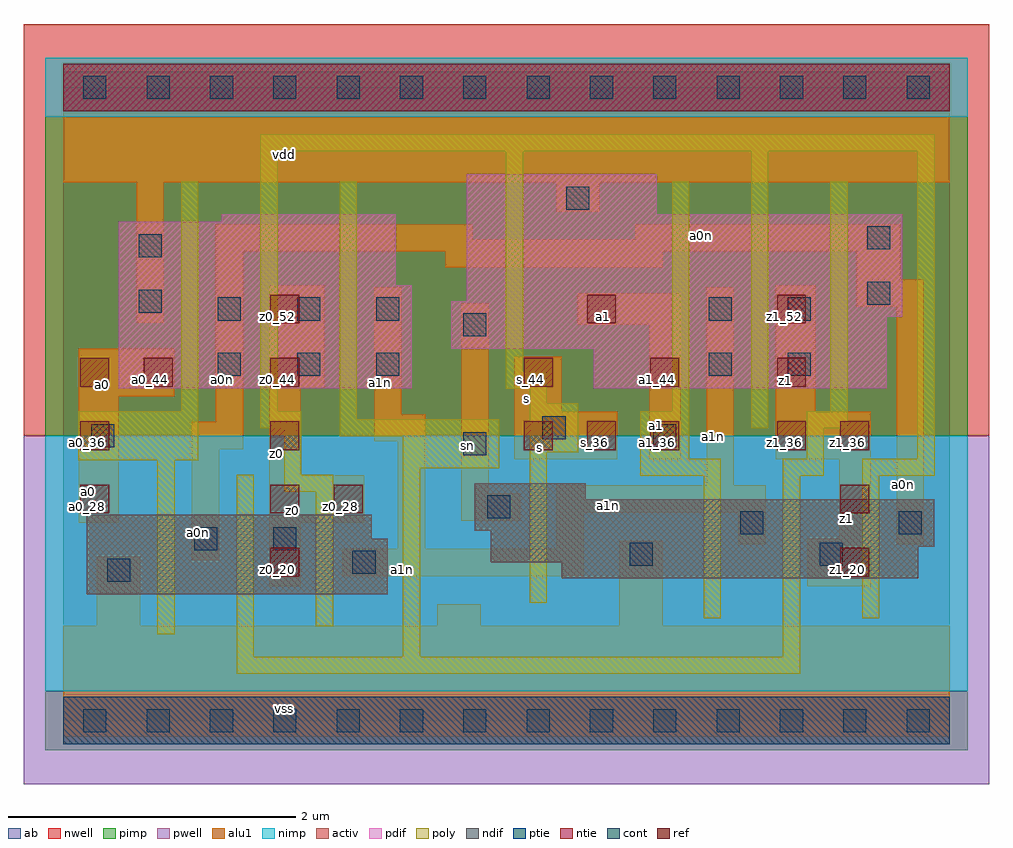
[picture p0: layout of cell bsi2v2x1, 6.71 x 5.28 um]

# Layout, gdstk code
import gdstk
lib = gdstk.Library(unit=1e-6, precision=2.5e-09)
def R(c, l, rs):  # rectangles x0, y0, x1, y1
    for r in rs: c.add(gdstk.rectangle(r[:2], r[2:], *l))
def A(c, l, x, y, w, h, nx, ny, dx, dy):  # array of equal rectangles
    R(c, l, [(x+i*dx, y+j*dy, x+i*dx+w, y+j*dy+h) for i in range(nx) for j in range(ny)])
ndif = (3, 0)
pdif = (4, 0)
ntie = (5, 0)
ptie = (6, 0)
ref = (24, 0)
cont = (25, 0)
pwell = (41, 0)
nwell = (42, 0)
activ = (43, 0)
pimp = (44, 0)
nimp = (45, 0)
poly = (46, 0)
alu1 = (49, 0)
ab = (63, 0)

bsi2v2x1 = lib.new_cell('bsi2v2x1')
R(bsi2v2x1, ndif, [(0.165,0.88,2.255,1.265), (3.465,0.99,5.94,1.1), (2.97,1.1,5.94,1.21), (2.97,1.21,6.05,1.32), (0.165,1.265,2.145,1.43), (2.86,1.32,6.05,1.54), (2.86,1.54,3.63,1.65)])
R(bsi2v2x1, pdif, [(0.385,2.31,2.42,3.025), (3.685,2.31,5.72,2.585), (2.695,2.585,5.72,2.805), (2.695,2.805,5.83,2.915), (2.805,2.915,5.83,3.52), (0.385,3.025,2.31,3.465), (1.1,3.465,2.31,3.52), (2.805,3.52,4.125,3.795)])
R(bsi2v2x1, ntie, [(0,4.235,6.16,4.565)])
R(bsi2v2x1, ptie, [(0,-0.165,6.16,0.165)])
A(bsi2v2x1, ref, 1.44, 1, 0.2, 0.2, 1, 5, 0, 0.44)
A(bsi2v2x1, ref, 5.4, 1, 0.2, 0.2, 1, 3, 0, 0.44)
A(bsi2v2x1, ref, 0.12, 1.44, 0.2, 0.2, 1, 3, 0, 0.44)
A(bsi2v2x1, ref, 3.2, 1.88, 0.2, 0.2, 3, 1, 0.44, 0)
A(bsi2v2x1, ref, 3.2, 2.32, 0.2, 0.2, 3, 1, 0.88, 0)
R(bsi2v2x1, ref, [(1.88,1.44,2.08,1.64), (4.96,1.88,5.16,2.08), (0.56,2.32,0.76,2.52), (3.64,2.76,3.84,2.96), (4.96,2.76,5.16,2.96)])
A(bsi2v2x1, cont, 0.14, -0.08, 0.16, 0.16, 14, 2, 0.44, 4.4)
A(bsi2v2x1, cont, 1.075, 2.395, 0.16, 0.16, 3, 2, 0.55, 0.385)
R(bsi2v2x1, cont, [(0.305,0.965,0.465,1.125), (2.01,1.02,2.17,1.18), (3.935,1.075,4.095,1.235), (5.255,1.075,5.415,1.235), (0.91,1.185,1.07,1.345), (1.46,1.185,1.62,1.345), (4.705,1.295,4.865,1.455), (5.805,1.295,5.965,1.455), (2.945,1.405,3.105,1.565), (2.78,1.845,2.94,2.005), (0.195,1.9,0.355,2.06), (4.1,1.9,4.26,2.06), (3.33,1.955,3.49,2.115), (4.485,2.395,4.645,2.555), (5.035,2.395,5.195,2.555), (2.78,2.67,2.94,2.83), (4.485,2.78,4.645,2.94), (5.035,2.78,5.195,2.94), (0.525,2.835,0.685,2.995), (5.585,2.89,5.745,3.05), (0.525,3.22,0.685,3.38), (5.585,3.275,5.745,3.435), (3.495,3.55,3.655,3.71)])
R(bsi2v2x1, pwell, [(-0.275,-0.44,6.435,1.98)])
R(bsi2v2x1, nwell, [(-0.275,1.98,6.435,4.84)])
R(bsi2v2x1, activ, [(0,-0.165,6.16,0.165), (0.165,0.88,2.255,1.265), (3.465,0.99,5.94,1.1), (2.97,1.1,5.94,1.21), (2.97,1.21,6.05,1.32), (0.165,1.265,2.145,1.43), (2.86,1.32,6.05,1.54), (2.86,1.54,3.63,1.65), (0.385,2.31,2.42,3.025), (3.685,2.31,5.72,2.585), (2.695,2.585,5.72,2.805), (2.695,2.805,5.83,2.915), (2.805,2.915,5.83,3.52), (0.385,3.025,2.31,3.465), (1.1,3.465,2.31,3.52), (2.805,3.52,4.125,3.795), (0,4.235,6.16,4.565)])
R(bsi2v2x1, pimp, [(-0.125,-0.205,6.285,0.205), (-0.125,1.98,6.285,4.195)])
R(bsi2v2x1, nimp, [(-0.125,0.205,6.285,1.98), (-0.125,4.195,6.285,4.605)])
R(bsi2v2x1, poly, [(1.205,0.325,5.12,0.445), (1.205,0.445,1.325,1.71), (2.36,0.445,2.48,1.755), (5,0.445,5.12,1.7), (0.655,0.6,0.775,1.81), (1.755,0.655,1.875,1.59), (4.45,0.71,4.57,1.7), (5.55,0.71,5.67,1.7), (3.24,0.82,3.36,1.865), (1.535,1.59,1.875,1.71), (4.01,1.7,4.57,1.82), (5,1.7,5.285,1.82), (5.55,1.7,6.055,1.82), (1.535,1.71,1.655,2.03), (2.36,1.755,3.03,1.975), (0.105,1.81,0.94,2.15), (4.01,1.82,4.35,2.15), (5.165,1.82,5.285,2.03), (5.935,1.82,6.055,3.955), (3.24,1.865,3.58,2.205), (1.92,1.975,3.03,2.095), (1.37,2.03,1.655,2.15), (4.78,2.03,4.9,3.955), (5.165,2.03,5.45,2.15), (1.92,2.095,2.04,3.745), (0.82,2.15,0.94,3.745), (1.37,2.15,1.49,3.955), (4.23,2.15,4.35,3.745), (5.33,2.15,5.45,3.745), (3.24,2.205,3.36,2.305), (3.075,2.305,3.36,2.425), (3.075,2.425,3.195,3.955), (1.37,3.955,6.055,4.075)])
R(bsi2v2x1, alu1, [(0,-0.11,6.16,0.66), (0.235,0.66,0.535,1.14), (2.6,0.66,2.9,0.81), (3.865,0.66,4.165,1.25), (1.43,0.935,1.65,1.375), (5.17,0.935,5.61,1.265), (1.94,1.005,3.615,1.195), (0.895,1.115,1.085,1.885), (2.325,1.195,2.515,1.94), (3.425,1.195,3.615,1.445), (4.69,1.225,4.88,1.445), (5.79,1.225,5.98,2.875), (5.39,1.265,5.61,1.815), (0.11,1.375,0.385,2.255), (1.43,1.375,2.09,1.705), (2.765,1.39,3.175,1.58), (3.425,1.445,4.88,1.635), (2.765,1.58,2.955,2.9), (4.47,1.635,4.66,3.01), (1.43,1.705,1.65,2.31), (3.135,1.815,3.85,2.145), (4.07,1.815,4.29,2.75), (4.95,1.815,5.61,2.145), (0.895,1.885,1.25,2.075), (2.16,1.94,2.515,2.13), (1.06,2.075,1.25,3.26), (2.16,2.13,2.35,3.01), (3.135,2.145,3.465,2.53), (4.95,2.145,5.225,3.025), (0.11,2.255,0.77,2.585), (1.43,2.31,1.815,3.025), (3.575,2.75,4.29,2.97), (0.51,2.765,0.7,3.74), (5.515,2.875,5.98,3.065), (5.515,3.065,5.815,3.26), (2.655,3.15,4.165,3.26), (1.06,3.26,5.815,3.34), (1.06,3.34,2.845,3.45), (3.975,3.34,5.815,3.45), (3.425,3.535,3.725,3.74), (0,3.74,6.16,4.51)])
R(bsi2v2x1, ab, [(0,0,6.16,4.4)])
bsi2v2x1.add(gdstk.Label('vss', (1.54,0.0825), layer=49, texttype=0))
bsi2v2x1.add(gdstk.Label('a0n', (5.8375,1.6375), layer=49, texttype=0))
bsi2v2x1.add(gdstk.Label('z1', (5.445,1.4025), layer=49, texttype=0))
bsi2v2x1.add(gdstk.Label('a1n', (2.3575,1.0525), layer=49, texttype=0))
bsi2v2x1.add(gdstk.Label('a1n', (3.7875,1.4925), layer=49, texttype=0))
bsi2v2x1.add(gdstk.Label('z1', (5.0175,2.365), layer=49, texttype=0))
bsi2v2x1.add(gdstk.Label('a1n', (4.5175,1.9775), layer=49, texttype=0))
bsi2v2x1.add(gdstk.Label('a1', (4.125,2.0475), layer=49, texttype=0))
bsi2v2x1.add(gdstk.Label('s', (3.3125,1.8975), layer=49, texttype=0))
bsi2v2x1.add(gdstk.Label('s', (3.2175,2.24), layer=49, texttype=0))
bsi2v2x1.add(gdstk.Label('a1', (3.7525,2.805), layer=49, texttype=0))
bsi2v2x1.add(gdstk.Label('sn', (2.8125,1.91), layer=49, texttype=0))
bsi2v2x1.add(gdstk.Label('z0', (1.595,1.4575), layer=49, texttype=0))
bsi2v2x1.add(gdstk.Label('a1n', (2.2075,2.35), layer=49, texttype=0))
bsi2v2x1.add(gdstk.Label('z0', (1.485,1.855), layer=49, texttype=0))
bsi2v2x1.add(gdstk.Label('a0n', (0.9425,1.3075), layer=49, texttype=0))
bsi2v2x1.add(gdstk.Label('a0n', (1.1075,2.37), layer=49, texttype=0))
bsi2v2x1.add(gdstk.Label('a0', (0.1775,1.595), layer=49, texttype=0))
bsi2v2x1.add(gdstk.Label('a0', (0.275,2.3375), layer=49, texttype=0))
bsi2v2x1.add(gdstk.Label('a0n', (4.435,3.3675), layer=49, texttype=0))
bsi2v2x1.add(gdstk.Label('vdd', (1.54,3.9325), layer=49, texttype=0))
bsi2v2x1.add(gdstk.Label('z1_20', (5.45,1.05), layer=24, texttype=0))
bsi2v2x1.add(gdstk.Label('z1_28', (5.45,1.49), layer=24, texttype=0))
bsi2v2x1.add(gdstk.Label('z1_36', (5.45,1.93), layer=24, texttype=0))
bsi2v2x1.add(gdstk.Label('a0_44', (0.61,2.37), layer=24, texttype=0))
bsi2v2x1.add(gdstk.Label('z0_20', (1.49,1.05), layer=24, texttype=0))
bsi2v2x1.add(gdstk.Label('z0_28', (1.49,1.49), layer=24, texttype=0))
bsi2v2x1.add(gdstk.Label('z0_36', (1.49,1.93), layer=24, texttype=0))
bsi2v2x1.add(gdstk.Label('z0_44', (1.49,2.37), layer=24, texttype=0))
bsi2v2x1.add(gdstk.Label('z0_52', (1.49,2.81), layer=24, texttype=0))
bsi2v2x1.add(gdstk.Label('z0_28', (1.93,1.49), layer=24, texttype=0))
bsi2v2x1.add(gdstk.Label('a0_28', (0.17,1.49), layer=24, texttype=0))
bsi2v2x1.add(gdstk.Label('a0_36', (0.17,1.93), layer=24, texttype=0))
bsi2v2x1.add(gdstk.Label('a0_44', (0.17,2.37), layer=24, texttype=0))
bsi2v2x1.add(gdstk.Label('s_36', (3.25,1.93), layer=24, texttype=0))
bsi2v2x1.add(gdstk.Label('s_44', (3.25,2.37), layer=24, texttype=0))
bsi2v2x1.add(gdstk.Label('s_36', (3.69,1.93), layer=24, texttype=0))
bsi2v2x1.add(gdstk.Label('a1_52', (3.69,2.81), layer=24, texttype=0))
bsi2v2x1.add(gdstk.Label('a1_36', (4.13,1.93), layer=24, texttype=0))
bsi2v2x1.add(gdstk.Label('a1_44', (4.13,2.37), layer=24, texttype=0))
bsi2v2x1.add(gdstk.Label('z1_36', (5.01,1.93), layer=24, texttype=0))
bsi2v2x1.add(gdstk.Label('z1_44', (5.01,2.37), layer=24, texttype=0))
bsi2v2x1.add(gdstk.Label('z1_52', (5.01,2.81), layer=24, texttype=0))

lib.write_gds('bsi2v2x1.gds')
